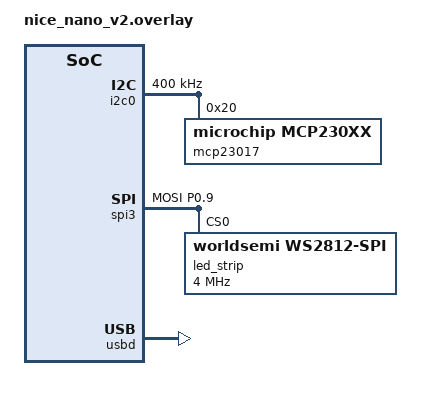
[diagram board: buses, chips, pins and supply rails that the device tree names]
#include <dt-bindings/led/led.h>

&pinctrl {
    spi3_default: spi3_default {
        group1 {
            psels = <NRF_PSEL(SPIM_MOSI, 0, 9)>;
        };
    };

    spi3_sleep: spi3_sleep {
        group1 {
            psels = <NRF_PSEL(SPIM_MOSI, 0, 9)>;
            low-power-enable;
        };
    };
};

&i2c0 {
    status = "okay";
    compatible = "nordic,nrf-twi";
	status = "okay";
	pinctrl-0 = <&i2c0_default>;
    pinctrl-1 = <&i2c0_sleep>;
    pinctrl-names = "default", "sleep";
    clock-frequency = <I2C_BITRATE_FAST>;

    mcp23017: mcp23017@20 {
        compatible = "microchip,mcp230xx";
        status = "okay";
        gpio-controller;
        reg = <0x20>;
        #gpio-cells = <2>;
        ngpios = <16>;
    };
};

&spi3 {
    compatible = "nordic,nrf-spim";
    status = "okay";

    pinctrl-0 = <&spi3_default>;
    pinctrl-1 = <&spi3_sleep>;
    pinctrl-names = "default", "sleep";

    led_strip: ws2812@0 {
        compatible = "worldsemi,ws2812-spi";

        /* SPI */
        reg = <0>; /* ignored, but necessary for SPI bindings */
        spi-max-frequency = <4000000>;

        /* WS2812 */
        chain-length = <10>; /* arbitrary; change at will */
        spi-one-frame = <0x70>;
        spi-zero-frame = <0x40>;

        color-mapping = <LED_COLOR_ID_GREEN LED_COLOR_ID_RED LED_COLOR_ID_BLUE>;
    };
};

&usbd {
  status = "okay";
  cdc_acm_uart: cdc_acm_uart {
    compatible = "zephyr,cdc-acm-uart";
  };
};

/ {
    chosen {
        zmk,underglow = &led_strip;
        zephyr,console = &cdc_acm_uart;
    };
};
